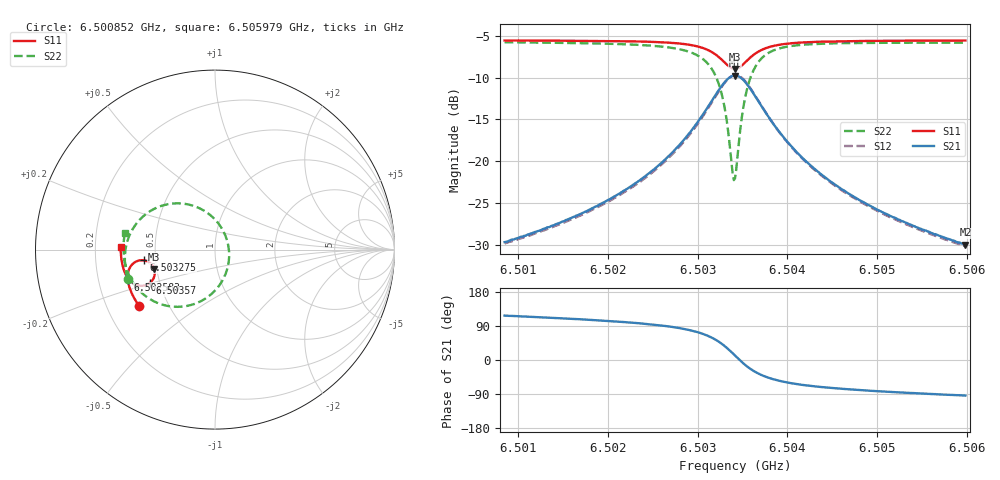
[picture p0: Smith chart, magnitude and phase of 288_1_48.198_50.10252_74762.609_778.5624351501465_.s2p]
#  HZ  S  RI  R  50.00
! Rohde & Schwarz Vector Network Analyzer
! Rohde-Schwarz,ZNB20-2Port,1311601062101988,3.16
! Created: UTC 3/20/2024, 11:48:57 AM
! freq[Hz]  re:S11  im:S11  re:S21  im:S21  re:S12  im:S12  re:S22  im:S22
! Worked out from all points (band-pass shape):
!   401 points, 6.500852 GHz to 6.505979 GHz, reference 50 ohm
!   highest |S21| = -9.76 dB at 6.503416 GHz (marker M1); lowest = -30.0 dB at 6.505979 GHz (marker M2)
!   |S21| within 3 dB of the highest: 6.503159 GHz to 6.503672 GHz (512.6 kHz wide, 0.00788 % of centre)
!   lowest |S11| = -9.0 dB at 6.503416 GHz (marker M3), VSWR 2.10, Z = 24.2 - j6.05 ohm
!   |S11| at or under -10 dB: nowhere
!   |S22| runs from -22.3 to -5.8 dB; largest |S21 - S12| = 0.011
!   S11 on the Smith chart (normalised r, x): 6.500852 GHz: 0.34, -0.30; 6.502583 GHz: 0.33, -0.15; 6.503275 GHz: 0.43, -0.06; 6.50357 GHz: 0.44, -0.20; 6.505979 GHz: 0.31, +0.01
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6.5008525e9  -0.4218 -0.3153  -0.015 0.0293  -0.0133 0.0294  -0.487 -0.1628
6.5017112e9  -0.4592 -0.2527  -0.0144 0.0467  -0.012 0.0463  -0.5019 -0.0731
6.5022111e9  -0.4772 -0.2086  -0.0113 0.0673  -0.00837 0.0663  -0.4991 -0.00295
6.50257e9  -0.4858 -0.1694  -0.00284 0.0949  0.000719 0.0927  -0.4811 0.068
6.5025828e9  -0.4861 -0.1677  -0.00236 0.0963  0.0012 0.094  -0.4799 0.0711
6.5028263e9  -0.4853 -0.1325  0.0158 0.1292  0.0196 0.1255  -0.4414 0.1406
6.5030058e9  -0.4737 -0.0994  0.0505 0.1654  0.0538 0.1599  -0.3732 0.2065
6.5031724e9  -0.4391 -0.0664  0.128 0.1983  0.1292 0.1921  -0.231 0.2569
6.503275e9  -0.3965 -0.0596  0.2129 0.1895  0.2133 0.184  -0.0832 0.2289
6.5033262e9  -0.3712 -0.0684  0.2608 0.1614  0.2619 0.1567  -0.00336 0.1713
6.5033903e9  -0.3448 -0.0946  0.3082 0.0982  0.3108 0.0931  0.0678 0.0496
6.5034159e9  -0.3386 -0.1091  0.3183 0.0662  0.3213 0.0603  0.0783 -0.00993
6.5034288e9  -0.3367 -0.1166  0.3207 0.0495  0.324 0.0433  0.0787 -0.0403
6.5035057e9  -0.3428 -0.1612  0.3037 -0.0441  0.3057 -0.0539  0.021 -0.2038
6.5035698e9  -0.3639 -0.1866  0.2613 -0.0975  0.26 -0.1084  -0.0747 -0.2852
6.5036723e9  -0.4029 -0.2016  0.1875 -0.1331  0.1822 -0.1422  -0.2227 -0.3185
6.5038389e9  -0.4485 -0.1916  0.1069 -0.13  0.1001 -0.1348  -0.3678 -0.2724
6.5040184e9  -0.4757 -0.1703  0.0632 -0.1103  0.057 -0.1125  -0.4389 -0.2082
6.5042747e9  -0.4962 -0.1404  0.0335 -0.0865  0.0288 -0.0868  -0.4818 -0.1366
6.5046464e9  -0.5115 -0.1019  0.0152 -0.0641  0.0119 -0.0638  -0.5035 -0.0641
6.5051335e9  -0.5211 -0.0571  0.00499 -0.0472  0.00268 -0.0464  -0.5099 0.00385
6.5059794e9  -0.5259 0.0142  -0.00214 -0.0317  -0.00341 -0.0309  -0.5018 0.0921
